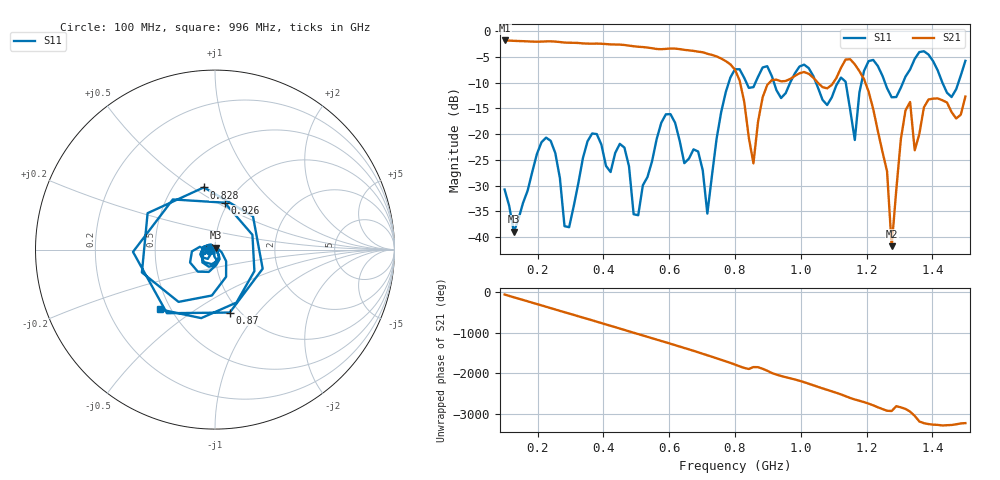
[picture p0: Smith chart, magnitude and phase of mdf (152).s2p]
! NanoVNA-App
! Date: 2025-09-25 15:39:36
! Start: 100MHz Stop: 1,5GHz Points: 101
! S-Parameter data: F S11 S21 S12 S22
# Hz S RI R 50
!  Frequency  S11_Real  S11_Imag  S21_Real  S21_Imag  S12_Real  S12_Imag  S22_Real  S22_Imag
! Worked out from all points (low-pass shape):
!   101 points, 100 MHz to 1.5 GHz, reference 50 ohm
!   highest |S21| = -1.80 dB at 100 MHz (marker M1); lowest = -41.8 dB at 1.276 GHz (marker M2)
!   |S21| within 3 dB of the highest: start of sweep to 739.2 MHz
!   lowest |S11| = -39.0 dB at 128 MHz (marker M3), VSWR 1.02, Z = 50.3 + j1.08 ohm
!   |S11| at or under -10 dB: start of sweep to 781 MHz; 1.046 GHz to 1.113 GHz (66.74 MHz wide, 6.18 % of centre); 1.256 GHz to 1.31 GHz (54.53 MHz wide, 4.25 % of centre) (the widest 3 of 7)
!   S12 and S22 are empty: the file has one direction only
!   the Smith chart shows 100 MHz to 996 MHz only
!   S11 on the Smith chart (normalised r, x): 100 MHz: 0.94, -0.01; 828 MHz: 0.70, +0.56; 870 MHz: 0.90, -0.73; 926 MHz: 0.96, +0.54; 996 MHz: 0.44, -0.36
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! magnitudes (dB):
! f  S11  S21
! 100 MHz  -30.8  -1.8
! 128 MHz  -39.0  -1.9
! 212 MHz  -21.6  -2.0
! 282 MHz  -37.9  -2.2
! 338 MHz  -24.6  -2.4
! 464 MHz  -22.6  -2.7
! 506 MHz  -35.8  -3.0
! 576 MHz  -17.8  -3.5
! 716 MHz  -35.4  -4.4
! 800 MHz  -7.4  -7.5
! 828 MHz  -9.1  -13.7
! 856 MHz  -10.9  -25.7
! 870 MHz  -8.9  -17.6
! 926 MHz  -11.5  -9.4
! 996 MHz  -6.9  -8.2
! 1.038 GHz  -8.7  -9.0
! 1.164 GHz  -21.1  -6.4
! 1.192 GHz  -7.7  -9.3
! 1.262 GHz  -11.1  -27.2
! 1.276 GHz  -12.8  -41.8
! 1.318 GHz  -8.8  -15.4
! 1.5 GHz  -5.8  -12.7
